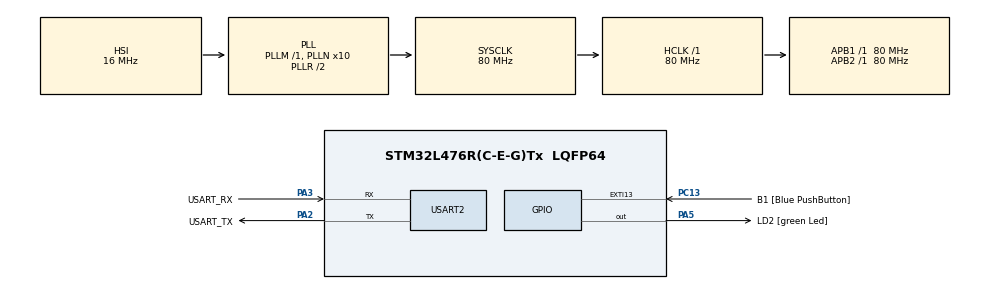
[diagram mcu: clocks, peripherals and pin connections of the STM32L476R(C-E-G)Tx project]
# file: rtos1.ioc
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FREERTOS.Tasks01=defaultTask,0,128,StartDefaultTask,Default,NULL,Dynamic,NULL,NULL
Mcu.Family=STM32L4
Mcu.Name=STM32L476R(C-E-G)Tx
Mcu.Package=LQFP64
NVIC.PriorityGroup=NVIC_PRIORITYGROUP_4
PA13\ (JTMS-SWDIO).GPIO_Label=TMS
PA13\ (JTMS-SWDIO).Mode=Serial_Wire
PA13\ (JTMS-SWDIO).Signal=SYS_JTMS-SWDIO
PA14\ (JTCK-SWCLK).GPIO_Label=TCK
PA14\ (JTCK-SWCLK).Mode=Serial_Wire
PA14\ (JTCK-SWCLK).Signal=SYS_JTCK-SWCLK
PA2.GPIO_Label=USART_TX
PA2.GPIO_Mode=GPIO_MODE_AF_PP
PA2.GPIO_PuPd=GPIO_NOPULL
PA2.GPIO_Speed=GPIO_SPEED_FREQ_VERY_HIGH
PA2.Mode=Asynchronous
PA2.Signal=USART2_TX
PA3.GPIO_Label=USART_RX
PA3.GPIO_Mode=GPIO_MODE_AF_PP
PA3.GPIO_PuPd=GPIO_NOPULL
PA3.GPIO_Speed=GPIO_SPEED_FREQ_VERY_HIGH
PA3.Mode=Asynchronous
PA3.Signal=USART2_RX
PA5.GPIO_Label=LD2 [green Led]
PA5.GPIO_ModeDefaultOutputPP=GPIO_MODE_OUTPUT_PP
PA5.GPIO_PuPd=GPIO_NOPULL
PA5.GPIO_Speed=GPIO_SPEED_FREQ_LOW
PA5.Signal=GPIO_Output
PB3\ (JTDO-TRACESWO).GPIO_Label=SWO
PB3\ (JTDO-TRACESWO).Signal=SYS_JTDO-SWO
PC13.GPIO_Label=B1 [Blue PushButton]
PC13.GPIO_ModeDefaultEXTI=GPIO_MODE_IT_FALLING
PC13.GPIO_PuPd=GPIO_NOPULL
PC13.Signal=GPXTI13
PC14-OSC32_IN\ (PC14).Mode=LSE-External-Oscillator
PC14-OSC32_IN\ (PC14).Signal=RCC_OSC32_IN
PC15-OSC32_OUT\ (PC15).Mode=LSE-External-Oscillator
PC15-OSC32_OUT\ (PC15).Signal=RCC_OSC32_OUT
PH0-OSC_IN\ (PH0).Signal=RCC_OSC_IN
PH1-OSC_OUT\ (PH1).Signal=RCC_OSC_OUT
ProjectManager.HeapSize=0x200
ProjectManager.StackSize=0x400
ProjectManager.TargetToolchain=STM32CubeIDE
RCC.ADCFreq_Value=64000000
RCC.AHBFreq_Value=80000000
RCC.APB1Freq_Value=80000000
RCC.APB1TimFreq_Value=80000000
RCC.APB2Freq_Value=80000000
RCC.APB2TimFreq_Value=80000000
RCC.CortexFreq_Value=80000000
RCC.HCLKFreq_Value=80000000
RCC.HSE_VALUE=8000000
RCC.HSI_VALUE=16000000
RCC.MSI_VALUE=4000000
RCC.PLLN=10
RCC.PLLSourceVirtual=RCC_PLLSOURCE_HSI
RCC.PREFETCH_ENABLE=1
RCC.SYSCLKFreq_VALUE=80000000
RCC.SYSCLKSource=RCC_SYSCLKSOURCE_PLLCLK
RCC.USBFreq_Value=64000000
RCC.VCOOutputFreq_Value=160000000
USART2.VirtualMode-Asynchronous=VM_ASYNC
VP_FREERTOS_VS_CMSIS_V1.Mode=CMSIS_V1
board=NUCLEO-L476RG

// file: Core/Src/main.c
/* simple task creation program uisng FreeRTOS
 * task-1
 * task-2
 * viewing two task running using UART.
 */

/* USER CODE BEGIN Header */
/**
  ******************************************************************************
  * @file           : main.c
  * @brief          : Main program body
  ******************************************************************************
  * @attention
  *
  * Copyright (c) 2025 STMicroelectronics.
  * All rights reserved.
  *
  * This software is licensed under terms that can be found in the LICENSE file
  * in the root directory of this software component.
  * If no LICENSE file comes with this software, it is provided AS-IS.
  *
  ******************************************************************************
  */
/* USER CODE END Header */
#include "main.h"
#include "cmsis_os.h"

/* USER CODE BEGIN PM */
//MACRO flags status
#define AVAILABLE  		1
#define NON_AVAILABLE 	0
/* USER CODE END PM */

UART_HandleTypeDef huart2;

osThreadId defaultTaskHandle;
/* USER CODE BEGIN PV */
TaskHandle_t xTaskHandle1=NULL;  // handle to store task1 handler address so that it can be used for future use.
TaskHandle_t xTaskHandle2=NULL;	 // handle to store task1 handler address so that it can be used for future use.
uint8_t uart_access_key=AVAILABLE;// to store the status so that the task will not overwrite on resource
/* USER CODE END PV */

void SystemClock_Config(void);
static void MX_GPIO_Init(void);
static void MX_USART2_UART_Init(void);
void StartDefaultTask(void const * argument);

/* USER CODE BEGIN PFP */
//task handler function for task-1
void Task1_handler(void*p)
{
	while(1){
		if(uart_access_key==AVAILABLE){
			uart_access_key=NON_AVAILABLE;				//make sure task 1 fully complete its work.
			HAL_UART_Transmit(&huart2, (uint8_t *)"Task-1 running\r\n", 16, 1000);
			uart_access_key=AVAILABLE;                  // making UART the resource available to other task
			HAL_Delay(1000);							// delay so the task 1 can be prempted and other task can execute
		}
	}
}

//task handler fuunction for task-2
void Task2_handler(void *p)
{
	while(1){
		if(uart_access_key==AVAILABLE){
			uart_access_key=NON_AVAILABLE;				 //make sure task 2 fully complete its work.
			HAL_UART_Transmit(&huart2, (uint8_t *)"Task-2 running\r\n", 16, 1000);
			uart_access_key=AVAILABLE;					// making the UART resource available to other task
			HAL_Delay(1000);							// delay so the task 2 can be prempted and other task can execute
			}
		}
}
/* USER CODE END PFP */

int main(void)
{

  /* MCU Configuration--------------------------------------------------------*/

  /* Reset of all peripherals, Initializes the Flash interface and the Systick. */
  HAL_Init();

  /* Configure the system clock */
  SystemClock_Config();

  /* Initialize all configured peripherals */
  MX_GPIO_Init();
  MX_USART2_UART_Init();

  /* Create the thread(s) */
  /* definition and creation of defaultTask */
  osThreadDef(defaultTask, StartDefaultTask, osPriorityNormal, 0, 128);
  defaultTaskHandle = osThreadCreate(osThread(defaultTask), NULL);

  /* USER CODE BEGIN RTOS_THREADS */
  xTaskCreate(Task1_handler, "Task-1", configMINIMAL_STACK_SIZE , NULL, 0, &xTaskHandle1);//creating task-1
  xTaskCreate(Task2_handler, "Task-2", configMINIMAL_STACK_SIZE , NULL, 0, &xTaskHandle1);//creating task-2
  /* USER CODE END RTOS_THREADS */

  /* Start scheduler */
  osKernelStart();

  /* We should never get here as control is now taken by the scheduler */

  /* Infinite loop */
  while (1)
  {

  }
}

void SystemClock_Config(void)
{
  RCC_OscInitTypeDef RCC_OscInitStruct = {0};
  RCC_ClkInitTypeDef RCC_ClkInitStruct = {0};

  /** Configure the main internal regulator output voltage
  */
  if (HAL_PWREx_ControlVoltageScaling(PWR_REGULATOR_VOLTAGE_SCALE1) != HAL_OK)
  {
    Error_Handler();
  }

  /** Initializes the RCC Oscillators according to the specified parameters
  * in the RCC_OscInitTypeDef structure.
  */
  RCC_OscInitStruct.OscillatorType = RCC_OSCILLATORTYPE_HSI;
  RCC_OscInitStruct.HSIState = RCC_HSI_ON;
  RCC_OscInitStruct.HSICalibrationValue = RCC_HSICALIBRATION_DEFAULT;
  RCC_OscInitStruct.PLL.PLLState = RCC_PLL_ON;
  RCC_OscInitStruct.PLL.PLLSource = RCC_PLLSOURCE_HSI;
  RCC_OscInitStruct.PLL.PLLM = 1;
  RCC_OscInitStruct.PLL.PLLN = 10;
  RCC_OscInitStruct.PLL.PLLP = RCC_PLLP_DIV7;
  RCC_OscInitStruct.PLL.PLLQ = RCC_PLLQ_DIV2;
  RCC_OscInitStruct.PLL.PLLR = RCC_PLLR_DIV2;
  if (HAL_RCC_OscConfig(&RCC_OscInitStruct) != HAL_OK)
  {
    Error_Handler();
  }

  /** Initializes the CPU, AHB and APB buses clocks
  */
  RCC_ClkInitStruct.ClockType = RCC_CLOCKTYPE_HCLK|RCC_CLOCKTYPE_SYSCLK
                              |RCC_CLOCKTYPE_PCLK1|RCC_CLOCKTYPE_PCLK2;
  RCC_ClkInitStruct.SYSCLKSource = RCC_SYSCLKSOURCE_PLLCLK;
  RCC_ClkInitStruct.AHBCLKDivider = RCC_SYSCLK_DIV1;
  RCC_ClkInitStruct.APB1CLKDivider = RCC_HCLK_DIV1;
  RCC_ClkInitStruct.APB2CLKDivider = RCC_HCLK_DIV1;

  if (HAL_RCC_ClockConfig(&RCC_ClkInitStruct, FLASH_LATENCY_4) != HAL_OK)
  {
    Error_Handler();
  }
}

static void MX_USART2_UART_Init(void)
{

  huart2.Instance = USART2;
  huart2.Init.BaudRate = 115200;
  huart2.Init.WordLength = UART_WORDLENGTH_8B;
  huart2.Init.StopBits = UART_STOPBITS_1;
  huart2.Init.Parity = UART_PARITY_NONE;
  huart2.Init.Mode = UART_MODE_TX_RX;
  huart2.Init.HwFlowCtl = UART_HWCONTROL_NONE;
  huart2.Init.OverSampling = UART_OVERSAMPLING_16;
  huart2.Init.OneBitSampling = UART_ONE_BIT_SAMPLE_DISABLE;
  huart2.AdvancedInit.AdvFeatureInit = UART_ADVFEATURE_NO_INIT;
  if (HAL_UART_Init(&huart2) != HAL_OK)
  {
    Error_Handler();
  }

}

static void MX_GPIO_Init(void)
{
  GPIO_InitTypeDef GPIO_InitStruct = {0};

  /* GPIO Ports Clock Enable */
  __HAL_RCC_GPIOC_CLK_ENABLE();
  __HAL_RCC_GPIOH_CLK_ENABLE();
  __HAL_RCC_GPIOA_CLK_ENABLE();
  __HAL_RCC_GPIOB_CLK_ENABLE();

  /*Configure GPIO pin Output Level */
  HAL_GPIO_WritePin(LD2_GPIO_Port, LD2_Pin, GPIO_PIN_RESET);

  /*Configure GPIO pin : B1_Pin */
  GPIO_InitStruct.Pin = B1_Pin;
  GPIO_InitStruct.Mode = GPIO_MODE_IT_FALLING;
  GPIO_InitStruct.Pull = GPIO_NOPULL;
  HAL_GPIO_Init(B1_GPIO_Port, &GPIO_InitStruct);

  /*Configure GPIO pin : LD2_Pin */
  GPIO_InitStruct.Pin = LD2_Pin;
  GPIO_InitStruct.Mode = GPIO_MODE_OUTPUT_PP;
  GPIO_InitStruct.Pull = GPIO_NOPULL;
  GPIO_InitStruct.Speed = GPIO_SPEED_FREQ_LOW;
  HAL_GPIO_Init(LD2_GPIO_Port, &GPIO_InitStruct);

}

void StartDefaultTask(void const * argument)
{
  for(;;)
  {
    osDelay(1);
  }
}

void Error_Handler(void)
{
  __disable_irq();
  while (1)
  {
  }
}
